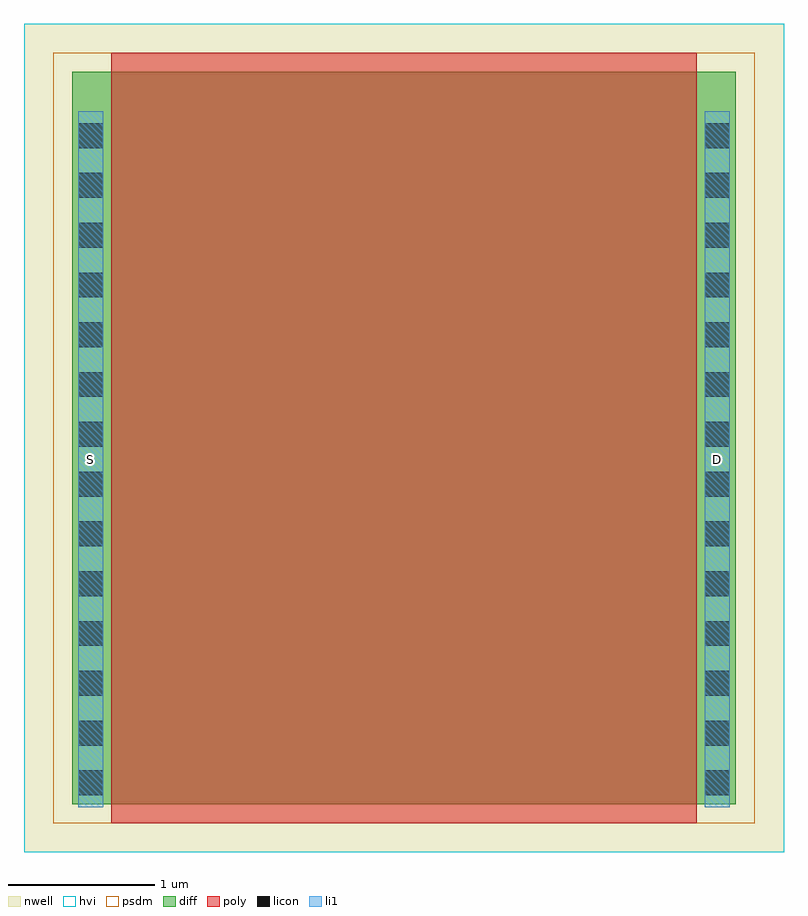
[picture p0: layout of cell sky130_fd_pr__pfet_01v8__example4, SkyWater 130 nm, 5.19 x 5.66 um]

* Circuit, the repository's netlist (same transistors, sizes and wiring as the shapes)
* Copyright 2020 The SkyWater PDK Authors
*
* Licensed under the Apache License, Version 2.0 (the "License");
* you may not use this file except in compliance with the License.
* You may obtain a copy of the License at
*
*     https://www.apache.org/licenses/LICENSE-2.0
*
* Unless required by applicable law or agreed to in writing, software
* distributed under the License is distributed on an "AS IS" BASIS,
* WITHOUT WARRANTIES OR CONDITIONS OF ANY KIND, either express or implied.
* See the License for the specific language governing permissions and
* limitations under the License.
*
* SPDX-License-Identifier: Apache-2.0


* Top level circuit sky130_fd_pr__pfet_01v8__example4
X0 a_800_0# a_0_n26# a_n50_0# w_n119_n66# sky130_fd_pr__pfet_g5v0d10v5 w=5e+06u l=4e+06u
.end

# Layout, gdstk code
from math import pi, radians
import gdstk
lib = gdstk.Library(unit=1e-6, precision=1e-09)
def R(c, l, rs):  # rectangles x0, y0, x1, y1
    for r in rs: c.add(gdstk.rectangle(r[:2], r[2:], *l))
def A(c, l, x, y, w, h, nx, ny, dx, dy):  # array of equal rectangles
    R(c, l, [(x+i*dx, y+j*dy, x+i*dx+w, y+j*dy+h) for i in range(nx) for j in range(ny)])
nwell = (64, 20)
diff = (65, 20)
poly = (66, 20)
licon = (66, 44)
li1 = (67, 20)
hvi = (75, 20)
psdm = (94, 20)

sky130_fd_pr__dfl1sd__ex = lib.new_cell('sky130_fd_pr__dfl1sd__example_168835116')
R(sky130_fd_pr__dfl1sd__ex, nwell, [(-0.18,-0.18,0.445,5.18)])
R(sky130_fd_pr__dfl1sd__ex, diff, [(0,0,0.265,5)])
A(sky130_fd_pr__dfl1sd__ex, licon, 0.055, 0.06, 0.17, 0.17, 1, 14, 0, 0.34)
R(sky130_fd_pr__dfl1sd__ex, li1, [(0.055,-0.02,0.225,4.73)])
R(sky130_fd_pr__dfl1sd__ex, psdm, [(-0.13,-0.13,0.395,5.13)])

sky130_fd_pr__pfet_01v8_ = lib.new_cell('sky130_fd_pr__pfet_01v8__example4')
R(sky130_fd_pr__pfet_01v8_, nwell, [(-0.595,-0.33,4.595,5.33), (-0.445,-0.18,4.445,5.18)])
R(sky130_fd_pr__pfet_01v8_, diff, [(-0.25,0,0,5), (0,0,4,5), (4,0,4.25,5)])
R(sky130_fd_pr__pfet_01v8_, poly, [(0,-0.13,4,0), (0,-0.13,4,5.13), (0,5,4,5.13)])
R(sky130_fd_pr__pfet_01v8_, li1, [(-0.225,-0.02,-0.055,4.73), (4.055,-0.02,4.225,4.73)])
R(sky130_fd_pr__pfet_01v8_, hvi, [(-0.595,-0.33,4.595,5.33)])
R(sky130_fd_pr__pfet_01v8_, psdm, [(-0.25,-0.13,4.25,5.13)])
sky130_fd_pr__pfet_01v8_.add(gdstk.Reference(sky130_fd_pr__dfl1sd__ex, (4,0)))
sky130_fd_pr__pfet_01v8_.add(gdstk.Reference(sky130_fd_pr__dfl1sd__ex, (0,0), rotation=pi, x_reflection=True))
sky130_fd_pr__pfet_01v8_.add(gdstk.Label('D', (4.14,2.355), layer=83, texttype=44))
sky130_fd_pr__pfet_01v8_.add(gdstk.Label('S', (-0.14,2.355), layer=83, texttype=44))

lib.write_gds('sky130_fd_pr__pfet_01v8__example4.gds')
